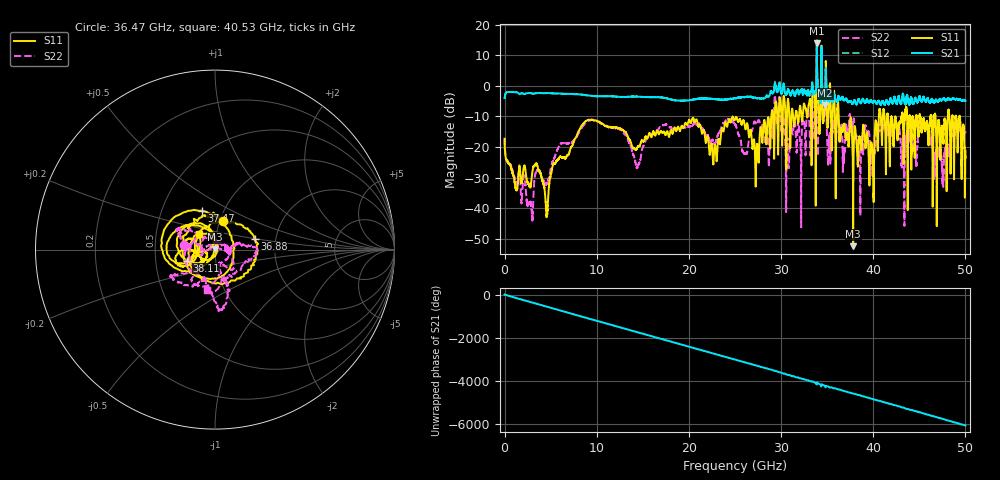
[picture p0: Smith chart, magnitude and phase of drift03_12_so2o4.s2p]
!Created with skrf (http://scikit-rf.org).
# Hz S RI R 50.0
!freq ReS11 ImS11 ReS21 ImS21 ReS12 ImS12 ReS22 ImS22
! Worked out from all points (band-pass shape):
!   10001 points, 300 kHz to 50 GHz, reference 50 ohm
!   highest |S21| = 13.88 dB at 33.88 GHz (marker M1); lowest = -6.4 dB at 34.79 GHz (marker M2)
!   |S21| within 3 dB of the highest: 33.8698 GHz to 33.88943 GHz (19.63 MHz wide, 0.0579 % of centre); 34.37656 GHz to 34.3914 GHz (14.85 MHz wide, 0.0432 % of centre)
!   lowest |S11| = -52.4 dB at 37.83 GHz (marker M3), VSWR 1.00, Z = 50 + j0.236 ohm
!   |S11| at or under -10 dB: start of sweep to 28.94 GHz; 36.27 GHz to 40.61 GHz (4.344 GHz wide, 11.3 % of centre); 46.75 GHz to 48.09 GHz (1.337 GHz wide, 2.82 % of centre) (the widest 3 of 68)
!   |S22| runs from -46.2 to 10.3 dB; largest |S21 - S12| = 0.83
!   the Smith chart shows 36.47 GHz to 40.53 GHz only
!   S11 on the Smith chart (normalised r, x): 36.47 GHz: 1.04, +0.34; 36.88 GHz: 1.55, +0.19; 37.47 GHz: 0.79, +0.36; 38.11 GHz: 0.72, -0.09; 40.53 GHz: 0.83, +0.14
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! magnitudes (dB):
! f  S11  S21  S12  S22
! 300 kHz  -17.3  -4.0  -4.0  -17.0
! 2.85 GHz  -32.3  -2.4  -2.4  -38.1
! 4.585 GHz  -42.0  -2.3  -2.3  -31.9
! 8.335 GHz  -13.1  -2.8  -2.8  -13.9
! 14.43 GHz  -20.0  -3.5  -3.5  -26.5
! 16.67 GHz  -15.5  -3.7  -3.7  -14.3
! 22.82 GHz  -19.3  -4.3  -4.3  -19.1
! 25 GHz  -11.0  -4.0  -4.0  -12.6
! 27.39 GHz  -19.3  -4.1  -4.1  -12.3
! 29.6 GHz  -10.8  -2.1  -2.1  -11.7
! 30.7 GHz  -5.6  -1.4  -1.5  -17.1
! 33.34 GHz  -13.9  -0.5  -0.6  -7.2
! 33.88 GHz  14.9  13.9  13.5  10.3
! 34.79 GHz  -3.1  -6.4  -5.0  -8.6
! 36.47 GHz  -15.5  -4.3  -4.3  -15.1
! 36.88 GHz  -12.9  -4.6  -4.6  -22.2
! 37.47 GHz  -12.8  -5.0  -5.1  -9.5
! 37.83 GHz  -52.4  -5.5  -5.6  -11.5
! 38.11 GHz  -15.4  -5.7  -5.6  -17.0
! 40.53 GHz  -18.2  -5.1  -5.1  -12.7
! 41.67 GHz  -12.4  -6.0  -6.0  -15.2
! 50 GHz  -21.2  -4.9  -4.9  -15.1
